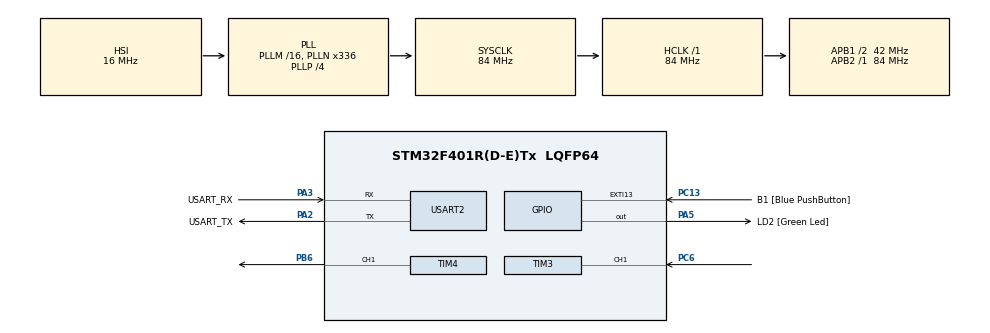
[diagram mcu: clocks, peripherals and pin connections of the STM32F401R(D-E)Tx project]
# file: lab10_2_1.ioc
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Mcu.Family=STM32F4
Mcu.Name=STM32F401R(D-E)Tx
Mcu.Package=LQFP64
NVIC.PriorityGroup=NVIC_PRIORITYGROUP_0
NVIC.TIM3_IRQn=true\:0\:0\:false\:false\:true\:true\:true
PA13.GPIO_Label=TMS
PA13.Mode=Serial_Wire
PA13.Signal=SYS_JTMS-SWDIO
PA14.GPIO_Label=TCK
PA14.Mode=Serial_Wire
PA14.Signal=SYS_JTCK-SWCLK
PA2.GPIO_Label=USART_TX
PA2.GPIO_Mode=GPIO_MODE_AF_PP
PA2.GPIO_PuPd=GPIO_NOPULL
PA2.GPIO_Speed=GPIO_SPEED_FREQ_LOW
PA2.Mode=Asynchronous
PA2.Signal=USART2_TX
PA3.GPIO_Label=USART_RX
PA3.GPIO_Mode=GPIO_MODE_AF_PP
PA3.GPIO_PuPd=GPIO_NOPULL
PA3.GPIO_Speed=GPIO_SPEED_FREQ_LOW
PA3.Mode=Asynchronous
PA3.Signal=USART2_RX
PA5.GPIO_Label=LD2 [Green Led]
PA5.GPIO_Mode=GPIO_MODE_OUTPUT_PP
PA5.GPIO_PuPd=GPIO_NOPULL
PA5.GPIO_Speed=GPIO_SPEED_FREQ_LOW
PA5.Signal=GPIO_Output
PB3.GPIO_Label=SWO
PB3.Signal=SYS_JTDO-SWO
PB6.Signal=S_TIM4_CH1
PC13-ANTI_TAMP.GPIO_Label=B1 [Blue PushButton]
PC13-ANTI_TAMP.GPIO_ModeDefaultEXTI=GPIO_MODE_IT_FALLING
PC13-ANTI_TAMP.GPIO_PuPd=GPIO_NOPULL
PC13-ANTI_TAMP.Signal=GPXTI13
PC14-OSC32_IN.Mode=LSE-External-Oscillator
PC14-OSC32_IN.Signal=RCC_OSC32_IN
PC15-OSC32_OUT.Mode=LSE-External-Oscillator
PC15-OSC32_OUT.Signal=RCC_OSC32_OUT
PC6.Signal=S_TIM3_CH1
PH0\ -\ OSC_IN.Mode=HSE-External-Clock-Source
PH0\ -\ OSC_IN.Signal=RCC_OSC_IN
PH1\ -\ OSC_OUT.Mode=HSE-External-Clock-Source
PH1\ -\ OSC_OUT.Signal=RCC_OSC_OUT
ProjectManager.HeapSize=0x200
ProjectManager.StackSize=0x400
ProjectManager.TargetToolchain=STM32CubeIDE
RCC.48MHZClocksFreq_Value=48000000
RCC.AHBFreq_Value=84000000
RCC.APB1CLKDivider=RCC_HCLK_DIV2
RCC.APB1Freq_Value=42000000
RCC.APB1TimFreq_Value=84000000
RCC.APB2Freq_Value=84000000
RCC.APB2TimFreq_Value=84000000
RCC.CortexFreq_Value=84000000
RCC.HCLKFreq_Value=84000000
RCC.HSE_VALUE=8000000
RCC.HSI_VALUE=16000000
RCC.PLLN=336
RCC.PLLP=RCC_PLLP_DIV4
RCC.PLLQ=7
RCC.SYSCLKFreq_VALUE=84000000
RCC.SYSCLKSource=RCC_SYSCLKSOURCE_PLLCLK
RCC.VCOOutputFreq_Value=336000000
SH.S_TIM3_CH1.0=TIM3_CH1,Input_Capture1_from_TI1
SH.S_TIM4_CH1.0=TIM4_CH1,PWM Generation1 CH1
TIM3.Channel-Input_Capture1_from_TI1=TIM_CHANNEL_1
TIM4.Channel-PWM\ Generation1\ CH1=TIM_CHANNEL_1
USART2.VirtualMode=VM_ASYNC
VP_TIM3_VS_ClockSourceINT.Mode=Internal
VP_TIM4_VS_ClockSourceINT.Mode=Internal
board=NUCLEO-F401RE

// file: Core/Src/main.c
/* USER CODE BEGIN Header */
/**
  ******************************************************************************
  * @file           : main.c
  * @brief          : Main program body
  ******************************************************************************
  * @attention
  *
  * Copyright (c) 2023 STMicroelectronics.
  * All rights reserved.
  *
  * This software is licensed under terms that can be found in the LICENSE file
  * in the root directory of this software component.
  * If no LICENSE file comes with this software, it is provided AS-IS.
  *
  ******************************************************************************
  */
/* USER CODE END Header */
#include "main.h"

TIM_HandleTypeDef htim3;
TIM_HandleTypeDef htim4;

UART_HandleTypeDef huart2;

void SystemClock_Config(void);
static void MX_GPIO_Init(void);
static void MX_USART2_UART_Init(void);
static void MX_TIM3_Init(void);
static void MX_TIM4_Init(void);

int main(void)
{

  /* MCU Configuration--------------------------------------------------------*/

  /* Reset of all peripherals, Initializes the Flash interface and the Systick. */
  HAL_Init();

  /* Configure the system clock */
  SystemClock_Config();

  /* Initialize all configured peripherals */
  MX_GPIO_Init();
  MX_USART2_UART_Init();
  MX_TIM3_Init();
  MX_TIM4_Init();

  /* Infinite loop */
  /* USER CODE BEGIN WHILE */
  HAL_TIM_IC_Start_IT(&htim3, TIM_CHANNEL_1);   // inizializzo timer 3
  HAL_TIM_PWM_Start(&htim4, TIM_CHANNEL_1);     // inizializzo timer 4

  while (1)
  {
    /* USER CODE END WHILE */

  }
}

void SystemClock_Config(void)
{
  RCC_OscInitTypeDef RCC_OscInitStruct = {0};
  RCC_ClkInitTypeDef RCC_ClkInitStruct = {0};

  /** Configure the main internal regulator output voltage
  */
  __HAL_RCC_PWR_CLK_ENABLE();
  __HAL_PWR_VOLTAGESCALING_CONFIG(PWR_REGULATOR_VOLTAGE_SCALE2);
  /** Initializes the RCC Oscillators according to the specified parameters
  * in the RCC_OscInitTypeDef structure.
  */
  RCC_OscInitStruct.OscillatorType = RCC_OSCILLATORTYPE_HSI;
  RCC_OscInitStruct.HSIState = RCC_HSI_ON;
  RCC_OscInitStruct.HSICalibrationValue = RCC_HSICALIBRATION_DEFAULT;
  RCC_OscInitStruct.PLL.PLLState = RCC_PLL_ON;
  RCC_OscInitStruct.PLL.PLLSource = RCC_PLLSOURCE_HSI;
  RCC_OscInitStruct.PLL.PLLM = 16;
  RCC_OscInitStruct.PLL.PLLN = 336;
  RCC_OscInitStruct.PLL.PLLP = RCC_PLLP_DIV4;
  RCC_OscInitStruct.PLL.PLLQ = 7;
  if (HAL_RCC_OscConfig(&RCC_OscInitStruct) != HAL_OK)
  {
    Error_Handler();
  }
  /** Initializes the CPU, AHB and APB buses clocks
  */
  RCC_ClkInitStruct.ClockType = RCC_CLOCKTYPE_HCLK|RCC_CLOCKTYPE_SYSCLK
                              |RCC_CLOCKTYPE_PCLK1|RCC_CLOCKTYPE_PCLK2;
  RCC_ClkInitStruct.SYSCLKSource = RCC_SYSCLKSOURCE_PLLCLK;
  RCC_ClkInitStruct.AHBCLKDivider = RCC_SYSCLK_DIV1;
  RCC_ClkInitStruct.APB1CLKDivider = RCC_HCLK_DIV2;
  RCC_ClkInitStruct.APB2CLKDivider = RCC_HCLK_DIV1;

  if (HAL_RCC_ClockConfig(&RCC_ClkInitStruct, FLASH_LATENCY_2) != HAL_OK)
  {
    Error_Handler();
  }
}

static void MX_TIM3_Init(void)
{

  TIM_ClockConfigTypeDef sClockSourceConfig = {0};
  TIM_MasterConfigTypeDef sMasterConfig = {0};
  TIM_IC_InitTypeDef sConfigIC = {0};

  htim3.Instance = TIM3;
  htim3.Init.Prescaler = 0;
  htim3.Init.CounterMode = TIM_COUNTERMODE_UP;
  htim3.Init.Period = 65535;
  htim3.Init.ClockDivision = TIM_CLOCKDIVISION_DIV1;
  htim3.Init.AutoReloadPreload = TIM_AUTORELOAD_PRELOAD_DISABLE;
  if (HAL_TIM_Base_Init(&htim3) != HAL_OK)
  {
    Error_Handler();
  }
  sClockSourceConfig.ClockSource = TIM_CLOCKSOURCE_INTERNAL;
  if (HAL_TIM_ConfigClockSource(&htim3, &sClockSourceConfig) != HAL_OK)
  {
    Error_Handler();
  }
  if (HAL_TIM_IC_Init(&htim3) != HAL_OK)
  {
    Error_Handler();
  }
  sMasterConfig.MasterOutputTrigger = TIM_TRGO_RESET;
  sMasterConfig.MasterSlaveMode = TIM_MASTERSLAVEMODE_DISABLE;
  if (HAL_TIMEx_MasterConfigSynchronization(&htim3, &sMasterConfig) != HAL_OK)
  {
    Error_Handler();
  }
  sConfigIC.ICPolarity = TIM_INPUTCHANNELPOLARITY_RISING;
  sConfigIC.ICSelection = TIM_ICSELECTION_DIRECTTI;
  sConfigIC.ICPrescaler = TIM_ICPSC_DIV1;
  sConfigIC.ICFilter = 0;
  if (HAL_TIM_IC_ConfigChannel(&htim3, &sConfigIC, TIM_CHANNEL_1) != HAL_OK)
  {
    Error_Handler();
  }

}

static void MX_TIM4_Init(void)
{

  TIM_ClockConfigTypeDef sClockSourceConfig = {0};
  TIM_MasterConfigTypeDef sMasterConfig = {0};
  TIM_OC_InitTypeDef sConfigOC = {0};

  htim4.Instance = TIM4;
  htim4.Init.Prescaler = 0;
  htim4.Init.CounterMode = TIM_COUNTERMODE_UP;
  htim4.Init.Period = 65535;
  htim4.Init.ClockDivision = TIM_CLOCKDIVISION_DIV1;
  htim4.Init.AutoReloadPreload = TIM_AUTORELOAD_PRELOAD_DISABLE;
  if (HAL_TIM_Base_Init(&htim4) != HAL_OK)
  {
    Error_Handler();
  }
  sClockSourceConfig.ClockSource = TIM_CLOCKSOURCE_INTERNAL;
  if (HAL_TIM_ConfigClockSource(&htim4, &sClockSourceConfig) != HAL_OK)
  {
    Error_Handler();
  }
  if (HAL_TIM_PWM_Init(&htim4) != HAL_OK)
  {
    Error_Handler();
  }
  sMasterConfig.MasterOutputTrigger = TIM_TRGO_RESET;
  sMasterConfig.MasterSlaveMode = TIM_MASTERSLAVEMODE_DISABLE;
  if (HAL_TIMEx_MasterConfigSynchronization(&htim4, &sMasterConfig) != HAL_OK)
  {
    Error_Handler();
  }
  sConfigOC.OCMode = TIM_OCMODE_PWM1;
  sConfigOC.Pulse = 0;
  sConfigOC.OCPolarity = TIM_OCPOLARITY_HIGH;
  sConfigOC.OCFastMode = TIM_OCFAST_DISABLE;
  if (HAL_TIM_PWM_ConfigChannel(&htim4, &sConfigOC, TIM_CHANNEL_1) != HAL_OK)
  {
    Error_Handler();
  }
  HAL_TIM_MspPostInit(&htim4);

}

static void MX_USART2_UART_Init(void)
{

  huart2.Instance = USART2;
  huart2.Init.BaudRate = 115200;
  huart2.Init.WordLength = UART_WORDLENGTH_8B;
  huart2.Init.StopBits = UART_STOPBITS_1;
  huart2.Init.Parity = UART_PARITY_NONE;
  huart2.Init.Mode = UART_MODE_TX_RX;
  huart2.Init.HwFlowCtl = UART_HWCONTROL_NONE;
  huart2.Init.OverSampling = UART_OVERSAMPLING_16;
  if (HAL_UART_Init(&huart2) != HAL_OK)
  {
    Error_Handler();
  }

}

static void MX_GPIO_Init(void)
{
  GPIO_InitTypeDef GPIO_InitStruct = {0};

  /* GPIO Ports Clock Enable */
  __HAL_RCC_GPIOC_CLK_ENABLE();
  __HAL_RCC_GPIOH_CLK_ENABLE();
  __HAL_RCC_GPIOA_CLK_ENABLE();
  __HAL_RCC_GPIOB_CLK_ENABLE();

  /*Configure GPIO pin Output Level */
  HAL_GPIO_WritePin(LD2_GPIO_Port, LD2_Pin, GPIO_PIN_RESET);

  /*Configure GPIO pin : B1_Pin */
  GPIO_InitStruct.Pin = B1_Pin;
  GPIO_InitStruct.Mode = GPIO_MODE_IT_FALLING;
  GPIO_InitStruct.Pull = GPIO_NOPULL;
  HAL_GPIO_Init(B1_GPIO_Port, &GPIO_InitStruct);

  /*Configure GPIO pin : LD2_Pin */
  GPIO_InitStruct.Pin = LD2_Pin;
  GPIO_InitStruct.Mode = GPIO_MODE_OUTPUT_PP;
  GPIO_InitStruct.Pull = GPIO_NOPULL;
  GPIO_InitStruct.Speed = GPIO_SPEED_FREQ_LOW;
  HAL_GPIO_Init(LD2_GPIO_Port, &GPIO_InitStruct);

}

/* USER CODE BEGIN 4 */
uint16_t capture, oldcapture, high;

void HAL_TIM_IC_CaptureCallback(TIM_HandleTypeDef *htim){
	if(htim == &htim3){

		capture = HAL_TIM_ReadCapturedValue(htim, TIM_CHANNEL_1);
		uint16_t T;
	    float duty;

		if (HAL_GPIO_ReadPin (GPIOC, GPIO_PIN_6) == 1){
			T = capture - oldcapture;
			uint16_t soglia_out = (uint16_t)(-0,334367347*(float)T+51492,57143);
			__HAL_TIM_SET_COMPARE(&htim4, TIM_CHANNEL_1, soglia_out);

			duty = (float)high/(float)T;

			oldcapture = capture;
		}else{
			high = capture - oldcapture;
		}

	}
}
/* USER CODE END 4 */

void Error_Handler(void)
{
  __disable_irq();
  while (1)
  {
  }
}
